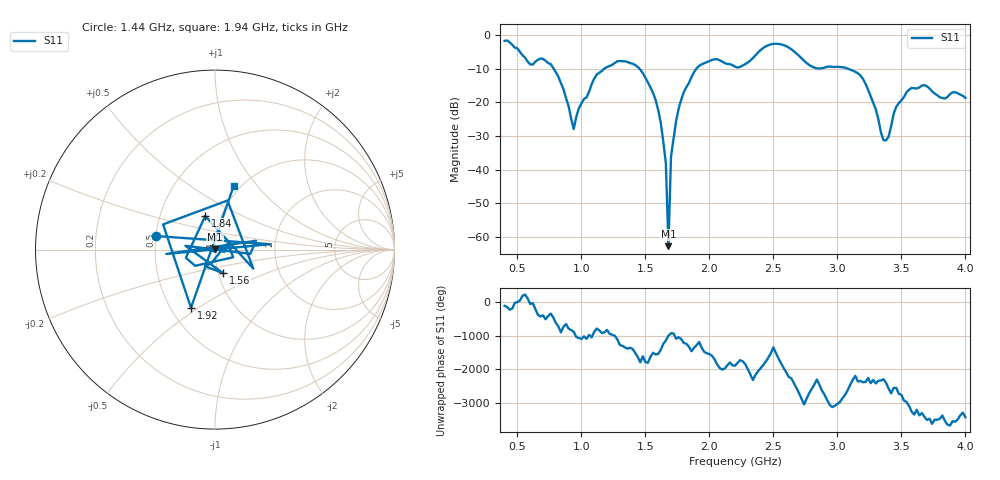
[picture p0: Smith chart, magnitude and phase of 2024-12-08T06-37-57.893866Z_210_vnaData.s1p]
!Created with skrf (http://scikit-rf.org).
# Hz S RI R 50.0
!freq ReS11 ImS11
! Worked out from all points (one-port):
!   181 points, 400 MHz to 4 GHz, reference 50 ohm
!   lowest |S11| = -62.8 dB at 1.68 GHz (marker M1), VSWR 1.00, Z = 50 + j0.07 ohm
!   |S11| at or under -10 dB: 784.3 MHz to 1.177 GHz (393 MHz wide, 40.1 % of centre); 1.454 GHz to 1.898 GHz (443.3 MHz wide, 26.5 % of centre); 3.084 GHz to end of sweep
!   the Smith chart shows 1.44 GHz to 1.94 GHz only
!   S11 on the Smith chart (normalised r, x): 1.44 GHz: 0.50, +0.09; 1.56 GHz: 1.05, -0.28; 1.84 GHz: 0.84, +0.33; 1.92 GHz: 0.63, -0.47; 1.94 GHz: 0.93, +0.76
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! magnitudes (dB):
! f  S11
! 400 MHz  -1.7
! 600 MHz  -8.7
! 760 MHz  -8.6
! 860 MHz  -16.1
! 940 MHz  -27.9
! 980 MHz  -21.8
! 1.12 GHz  -11.7
! 1.3 GHz  -7.7
! 1.44 GHz  -9.5
! 1.56 GHz  -17.2
! 1.62 GHz  -26.1
! 1.66 GHz  -38.2
! 1.68 GHz  -62.8
! 1.7 GHz  -36.1
! 1.76 GHz  -21.8
! 1.84 GHz  -14.2
! 1.92 GHz  -9.1
! 1.94 GHz  -8.6
! 2.2 GHz  -9.3
! 2.48 GHz  -2.7
! 2.66 GHz  -4.8
! 2.82 GHz  -9.6
! 3.1 GHz  -10.2
! 3.22 GHz  -14.5
! 3.36 GHz  -31.2
! 3.46 GHz  -21.3
! 3.56 GHz  -16.2
! 4 GHz  -18.7
